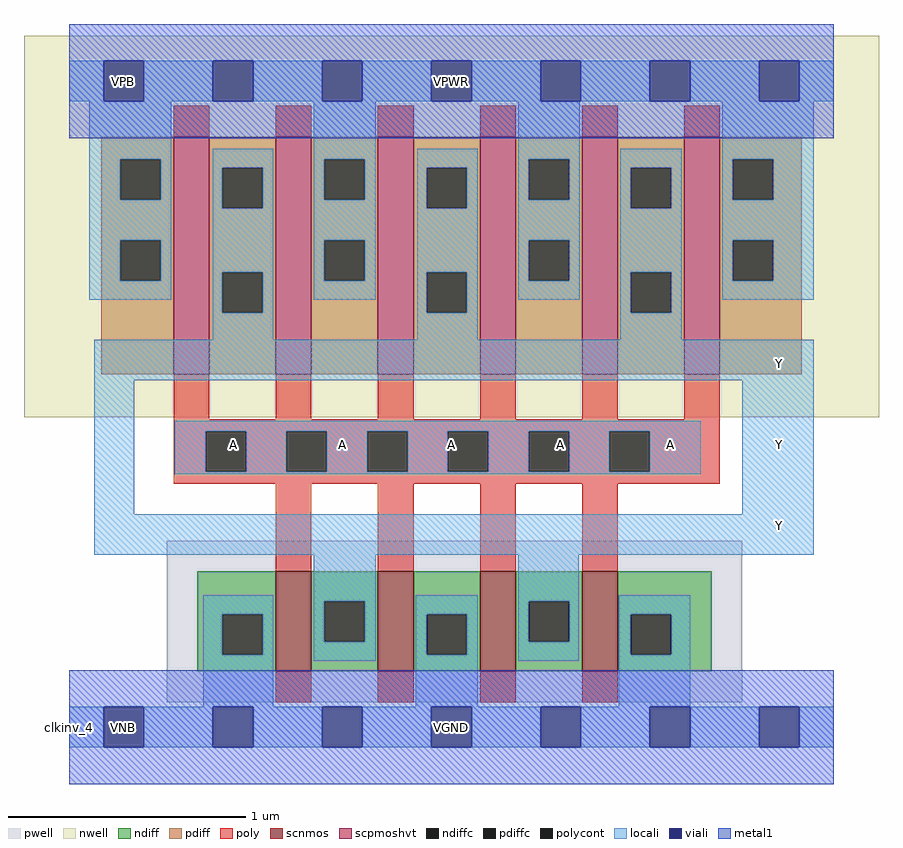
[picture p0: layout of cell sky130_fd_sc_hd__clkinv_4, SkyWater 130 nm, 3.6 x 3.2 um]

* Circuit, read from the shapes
.subckt sky130_fd_sc_hd__clkinv_4 A VGND VNB VPB VPWR Y
XM1 Y A VGND VNB sky130_fd_pr__nfet_01v8 w=0.42 l=0.15 m=4
XM2 Y A VPWR VPB sky130_fd_pr__pfet_01v8_hvt w=1 l=0.15 m=6
.ends

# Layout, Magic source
magic
tech sky130B
magscale 1 2
<< nwell >>
rect -38 261 682 582
<< pwell >>
rect 82 21 567 157
rect 29 -17 63 17
<< scnmos >>
rect 174 47 204 131
rect 260 47 290 131
rect 346 47 376 131
rect 432 47 462 131
<< scpmoshvt >>
rect 88 297 118 497
rect 174 297 204 497
rect 260 297 290 497
rect 346 297 376 497
rect 432 297 462 497
rect 518 297 548 497
<< ndiff >>
rect 108 95 174 131
rect 108 61 129 95
rect 163 61 174 95
rect 108 47 174 61
rect 204 106 260 131
rect 204 72 215 106
rect 249 72 260 106
rect 204 47 260 72
rect 290 95 346 131
rect 290 61 301 95
rect 335 61 346 95
rect 290 47 346 61
rect 376 106 432 131
rect 376 72 387 106
rect 421 72 432 106
rect 376 47 432 72
rect 462 95 541 131
rect 462 61 473 95
rect 507 61 541 95
rect 462 47 541 61
<< pdiff >>
rect 27 478 88 497
rect 27 444 43 478
rect 77 444 88 478
rect 27 410 88 444
rect 27 376 43 410
rect 77 376 88 410
rect 27 297 88 376
rect 118 471 174 497
rect 118 437 129 471
rect 163 437 174 471
rect 118 383 174 437
rect 118 349 129 383
rect 163 349 174 383
rect 118 297 174 349
rect 204 478 260 497
rect 204 444 215 478
rect 249 444 260 478
rect 204 410 260 444
rect 204 376 215 410
rect 249 376 260 410
rect 204 297 260 376
rect 290 471 346 497
rect 290 437 301 471
rect 335 437 346 471
rect 290 383 346 437
rect 290 349 301 383
rect 335 349 346 383
rect 290 297 346 349
rect 376 478 432 497
rect 376 444 387 478
rect 421 444 432 478
rect 376 410 432 444
rect 376 376 387 410
rect 421 376 432 410
rect 376 297 432 376
rect 462 471 518 497
rect 462 437 473 471
rect 507 437 518 471
rect 462 383 518 437
rect 462 349 473 383
rect 507 349 518 383
rect 462 297 518 349
rect 548 478 617 497
rect 548 444 559 478
rect 593 444 617 478
rect 548 410 617 444
rect 548 376 559 410
rect 593 376 617 410
rect 548 297 617 376
<< ndiffc >>
rect 129 61 163 95
rect 215 72 249 106
rect 301 61 335 95
rect 387 72 421 106
rect 473 61 507 95
<< pdiffc >>
rect 43 444 77 478
rect 43 376 77 410
rect 129 437 163 471
rect 129 349 163 383
rect 215 444 249 478
rect 215 376 249 410
rect 301 437 335 471
rect 301 349 335 383
rect 387 444 421 478
rect 387 376 421 410
rect 473 437 507 471
rect 473 349 507 383
rect 559 444 593 478
rect 559 376 593 410
<< poly >>
rect 88 497 118 523
rect 174 497 204 523
rect 260 497 290 523
rect 346 497 376 523
rect 432 497 462 523
rect 518 497 548 523
rect 88 259 118 297
rect 174 259 204 297
rect 260 259 290 297
rect 346 259 376 297
rect 432 259 462 297
rect 518 259 548 297
rect 88 249 548 259
rect 88 215 115 249
rect 149 215 183 249
rect 217 215 251 249
rect 285 215 319 249
rect 353 215 387 249
rect 421 215 455 249
rect 489 215 548 249
rect 88 205 548 215
rect 174 131 204 205
rect 260 131 290 205
rect 346 131 376 205
rect 432 131 462 205
rect 174 21 204 47
rect 260 21 290 47
rect 346 21 376 47
rect 432 21 462 47
<< polycont >>
rect 115 215 149 249
rect 183 215 217 249
rect 251 215 285 249
rect 319 215 353 249
rect 387 215 421 249
rect 455 215 489 249
<< locali >>
rect 0 527 29 561
rect 63 527 121 561
rect 155 527 213 561
rect 247 527 305 561
rect 339 527 397 561
rect 431 527 489 561
rect 523 527 581 561
rect 615 527 644 561
rect 17 478 86 527
rect 17 444 43 478
rect 77 444 86 478
rect 17 410 86 444
rect 17 376 43 410
rect 77 376 86 410
rect 17 360 86 376
rect 121 471 172 487
rect 121 437 129 471
rect 163 437 172 471
rect 121 383 172 437
rect 121 349 129 383
rect 163 349 172 383
rect 206 478 258 527
rect 206 444 215 478
rect 249 444 258 478
rect 206 410 258 444
rect 206 376 215 410
rect 249 376 258 410
rect 206 360 258 376
rect 293 471 344 487
rect 293 437 301 471
rect 335 437 344 471
rect 293 383 344 437
rect 121 326 172 349
rect 293 349 301 383
rect 335 349 344 383
rect 378 478 430 527
rect 378 444 387 478
rect 421 444 430 478
rect 378 410 430 444
rect 378 376 387 410
rect 421 376 430 410
rect 378 360 430 376
rect 464 471 516 487
rect 464 437 473 471
rect 507 437 516 471
rect 464 383 516 437
rect 293 326 344 349
rect 464 349 473 383
rect 507 349 516 383
rect 550 478 627 527
rect 550 444 559 478
rect 593 444 627 478
rect 550 410 627 444
rect 550 376 559 410
rect 593 376 627 410
rect 550 360 627 376
rect 464 326 516 349
rect 21 292 627 326
rect 21 179 55 292
rect 89 249 532 258
rect 89 215 115 249
rect 149 215 183 249
rect 217 215 251 249
rect 285 215 319 249
rect 353 215 387 249
rect 421 215 455 249
rect 489 215 532 249
rect 89 213 532 215
rect 567 179 627 292
rect 21 145 627 179
rect 113 95 172 111
rect 113 61 129 95
rect 163 61 172 95
rect 113 17 172 61
rect 206 106 258 145
rect 206 72 215 106
rect 249 72 258 106
rect 206 56 258 72
rect 292 95 344 111
rect 292 61 301 95
rect 335 61 344 95
rect 292 17 344 61
rect 378 106 429 145
rect 378 72 387 106
rect 421 72 429 106
rect 378 56 429 72
rect 463 95 523 111
rect 463 61 473 95
rect 507 61 523 95
rect 463 17 523 61
rect 0 -17 29 17
rect 63 -17 121 17
rect 155 -17 213 17
rect 247 -17 305 17
rect 339 -17 397 17
rect 431 -17 489 17
rect 523 -17 581 17
rect 615 -17 644 17
<< viali >>
rect 29 527 63 561
rect 121 527 155 561
rect 213 527 247 561
rect 305 527 339 561
rect 397 527 431 561
rect 489 527 523 561
rect 581 527 615 561
rect 29 -17 63 17
rect 121 -17 155 17
rect 213 -17 247 17
rect 305 -17 339 17
rect 397 -17 431 17
rect 489 -17 523 17
rect 581 -17 615 17
<< metal1 >>
rect 0 561 644 592
rect 0 527 29 561
rect 63 527 121 561
rect 155 527 213 561
rect 247 527 305 561
rect 339 527 397 561
rect 431 527 489 561
rect 523 527 581 561
rect 615 527 644 561
rect 0 496 644 527
rect 0 17 644 48
rect 0 -17 29 17
rect 63 -17 121 17
rect 155 -17 213 17
rect 247 -17 305 17
rect 339 -17 397 17
rect 431 -17 489 17
rect 523 -17 581 17
rect 615 -17 644 17
rect 0 -48 644 -17
<< labels >>
flabel locali s 213 221 247 255 0 FreeSans 400 0 0 0 A
port 1 nsew signal input
flabel locali s 305 221 339 255 0 FreeSans 400 0 0 0 A
port 1 nsew signal input
flabel locali s 581 153 615 187 0 FreeSans 400 0 0 0 Y
port 6 nsew signal output
flabel locali s 121 221 155 255 0 FreeSans 400 0 0 0 A
port 1 nsew signal input
flabel locali s 581 289 615 323 0 FreeSans 400 0 0 0 Y
port 6 nsew signal output
flabel locali s 489 221 523 255 0 FreeSans 400 0 0 0 A
port 1 nsew signal input
flabel locali s 397 221 431 255 0 FreeSans 400 0 0 0 A
port 1 nsew signal input
flabel locali s 581 221 615 255 0 FreeSans 400 0 0 0 Y
port 6 nsew signal output
flabel pwell s 29 -17 63 17 0 FreeSans 200 0 0 0 VNB
port 3 nsew ground bidirectional
flabel nwell s 29 527 63 561 0 FreeSans 200 0 0 0 VPB
port 4 nsew power bidirectional
flabel metal1 s 29 527 63 561 0 FreeSans 200 0 0 0 VPWR
port 5 nsew power bidirectional abutment
flabel metal1 s 29 -17 63 17 0 FreeSans 200 0 0 0 VGND
port 2 nsew ground bidirectional abutment
rlabel comment s 0 0 0 0 4 clkinv_4
rlabel metal1 s 0 -48 644 48 1 VGND
port 2 nsew ground bidirectional abutment
rlabel metal1 s 0 496 644 592 1 VPWR
port 5 nsew power bidirectional abutment
<< properties >>
string FIXED_BBOX 0 0 644 544
string GDS_END 3295244
string GDS_FILE $PDKPATH/libs.ref/sky130_fd_sc_hd/gds/sky130_fd_sc_hd.gds
string GDS_START 3289438
string LEFclass CORE
string LEFsite unithd
string LEFsymmetry X Y R90
string path 0.000 0.000 16.100 0.000 
<< end >>
